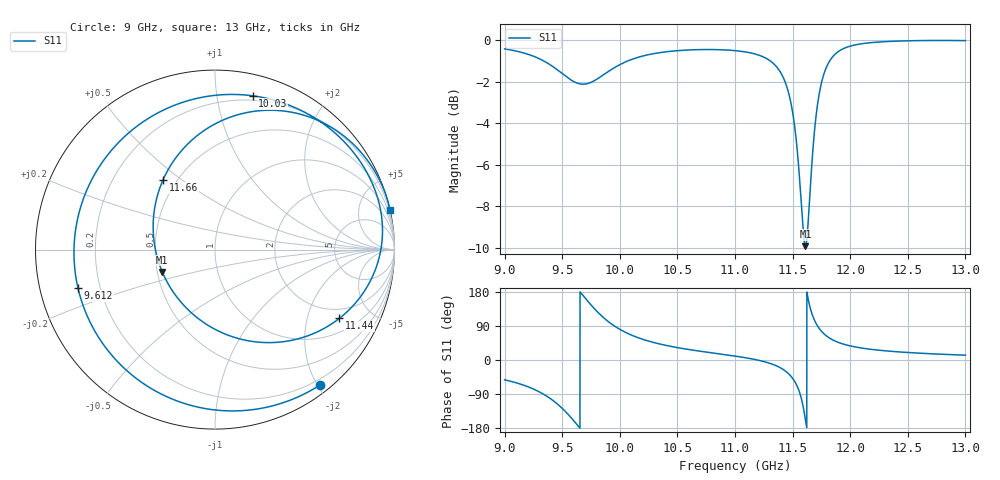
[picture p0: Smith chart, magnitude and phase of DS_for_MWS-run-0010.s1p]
! TOUCHSTONE file generated by CST DESIGN STUDIO
! Date and time: Tue Feb  4 18:32:39 2025
! Project name: C:\Work\MatlabApps\UnitCellOptimizationMatlab\CST\unitcell.cst
! Tree item: Tasks\Sweep1\SPara1\S-Parameters
! Header version: 2024
! Port assignment regex: !\s*Touchstone port\s*([0-9]+)\s*=\s*(CST MWS port|CST DES external port|CST DES block port)\s*(.+)\s* \(\"(.*)\"\)(\s*mode\s*([0-9]+))?.*
! Touchstone port assignment:
! Touchstone port 1 = CST DES external port 1 ("")
# GHz S MA R 50
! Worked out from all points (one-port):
!   4001 points, 9 GHz to 13 GHz, reference 50 ohm
!   lowest |S11| = -9.9 dB at 11.61 GHz (marker M1), VSWR 1.94, Z = 26.6 - j7.43 ohm
!   |S11| at or under -10 dB: nowhere
!   S11 on the Smith chart (normalised r, x): 9 GHz: 0.12, -2.03; 9.612 GHz: 0.12, -0.14; 10.03 GHz: 0.16, +1.26; 11.44 GHz: 1.55, -3.18; 11.66 GHz: 0.42, +0.43; 13 GHz: 0.03, +8.96
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9  0.9547 -52.3
9.172  0.9319 -67.1
9.324  0.8973 -87.8
9.418  0.8654 -106.4
9.5  0.8322 -127.6
9.612  0.7928 -164.4
9.703  0.7853 162.1
9.811  0.8099 125.4
9.898  0.8409 101.9
10  0.8744 81.0
10.028  0.8822 76.3
10.232  0.922 51.5
10.5  0.9449 32.7
11  0.9452 10.3
11.288  0.8996 -7.3
11.437  0.7918 -28.9
11.5  0.6714 -48.3
11.56  0.466 -84.9
11.611  0.3189 -156.9
11.636  0.3676 159.6
11.663  0.4847 126.7
11.707  0.6694 94.7
11.759  0.8075 73.1
11.859  0.9209 51.4
12  0.9692 37.2
12.194  0.9889 27.6
12.5  0.9983 19.8
13  0.9992 12.7
